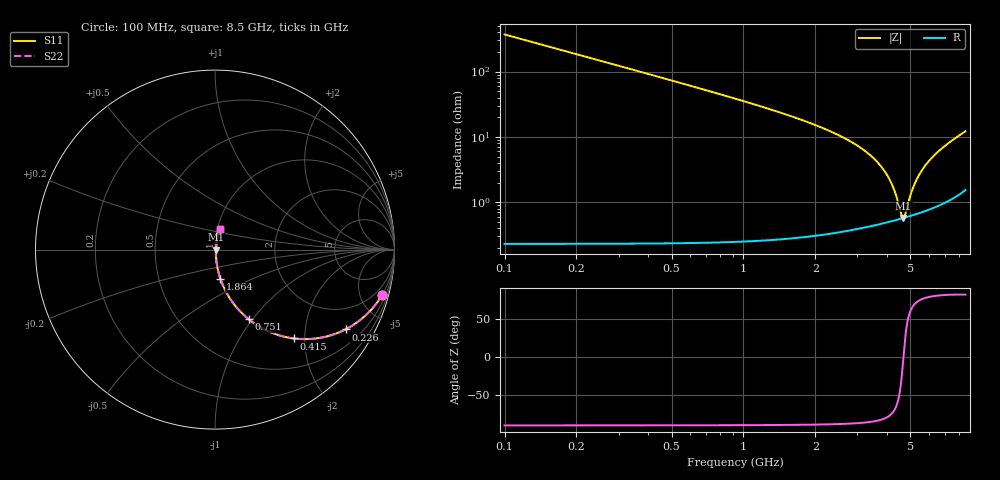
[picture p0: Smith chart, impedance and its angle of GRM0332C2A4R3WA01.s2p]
!Murata Part Number: GRM0332C2A4R3WA01
!These Parameters are Measured in Series Mode Connection
!Data Generated on Mar 30, 2021
!  o--ll--o
!Port1  Port2
!  o------o
!Operation Temp=25[degC], DC Bias Voltage=0[V]
!Freq. Start=100[MHz] Stop=9[GHz] 401[Steps]
# Hz S RI R 50
!Freq.(Hz) S11(Real) S11(Imag) S21(Real) S21(Imag) S12(Real) S12(Imag) S22(Real) S22(Imag)
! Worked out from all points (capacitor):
!   401 points, 100 MHz to 8.5 GHz, reference 50 ohm
!   read as one part in series: C = 4.3 pF near 142 MHz
!   lowest |Z| = 573 mohm at 4.678 GHz (marker M1)
!   series resonance near 4.676 GHz, so ESL is about 270 pH
!   S11 on the Smith chart (normalised r, x): 100 MHz: 1.00, -7.40; 226 MHz: 1.00, -3.27; 415 MHz: 1.00, -1.77; 751 MHz: 1.00, -0.96; 1.864 GHz: 1.01, -0.34; 8.5 GHz: 1.03, +0.24
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1e8  0.9318 -0.2518  0.0682 0.2518  0.0682 0.2518  0.9318 -0.2518
2.26e8  0.7272 -0.4447  0.2728 0.4447  0.2728 0.4447  0.7272 -0.4447
3.1e8  0.5855 -0.4917  0.4145 0.4917  0.4145 0.4917  0.5855 -0.4917
4.15e8  0.4394 -0.495  0.5606 0.495  0.5606 0.495  0.4394 -0.495
5.62e8  0.2972 -0.4552  0.7028 0.4552  0.7028 0.4552  0.2972 -0.4552
7.51e8  0.1888 -0.3888  0.8112 0.3888  0.8112 0.3888  0.1888 -0.3888
1.066e9  0.0998 -0.2959  0.9002 0.2959  0.9002 0.2959  0.0998 -0.2959
1.507e9  0.0488 -0.2093  0.9512 0.2093  0.9512 0.2093  0.0488 -0.2093
1.864e9  0.0301 -0.1622  0.9699 0.1622  0.9699 0.1622  0.0301 -0.1622
2.914e9  0.00987 -0.0775  0.9901 0.0775  0.9901 0.0775  0.00987 -0.0775
3.775e9  0.00585 -0.0345  0.9942 0.0345  0.9942 0.0345  0.00585 -0.0345
4.069e9  0.00548 -0.0224  0.9945 0.0224  0.9945 0.0224  0.00548 -0.0224
4.3e9  0.00542 -0.0135  0.9946 0.0135  0.9946 0.0135  0.00542 -0.0135
4.594e9  0.0056 -0.00288  0.9944 0.00288  0.9944 0.00288  0.0056 -0.00288
4.678e9  0.0057 5.95e-05  0.9943 -5.95e-05  0.9943 -5.95e-05  0.0057 5.95e-05
4.741e9  0.00579 0.00223  0.9942 -0.00223  0.9942 -0.00223  0.00579 0.00223
4.993e9  0.00623 0.0107  0.9938 -0.0107  0.9938 -0.0107  0.00623 0.0107
5.182e9  0.00666 0.0169  0.9933 -0.0169  0.9933 -0.0169  0.00666 0.0169
5.707e9  0.00828 0.0332  0.9917 -0.0332  0.9917 -0.0332  0.00828 0.0332
6.316e9  0.0109 0.0513  0.9891 -0.0513  0.9891 -0.0513  0.0109 0.0513
7.114e9  0.0157 0.0745  0.9843 -0.0745  0.9843 -0.0745  0.0157 0.0745
8.5e9  0.0289 0.1156  0.9711 -0.1156  0.9711 -0.1156  0.0289 0.1156
